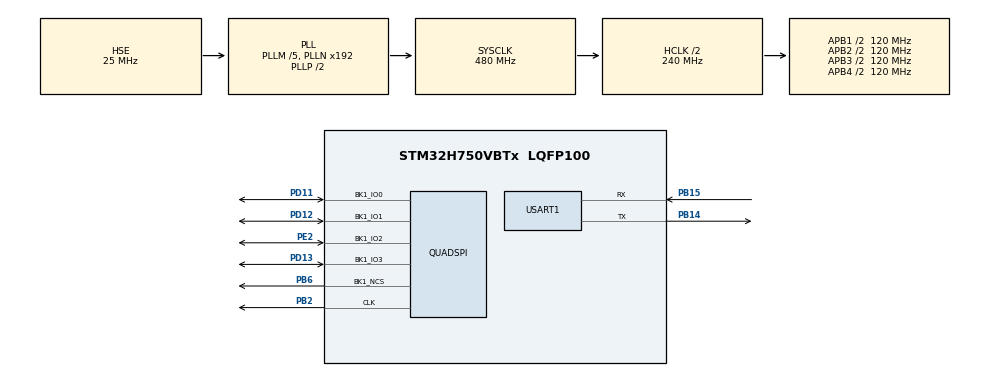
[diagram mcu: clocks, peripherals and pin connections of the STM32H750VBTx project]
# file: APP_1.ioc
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CORTEX_M7.default_mode_Activation=1
Dma.Request0=USART1_TX
Dma.USART1_TX.0.Direction=DMA_MEMORY_TO_PERIPH
Dma.USART1_TX.0.EventEnable=DISABLE
Dma.USART1_TX.0.FIFOMode=DMA_FIFOMODE_DISABLE
Dma.USART1_TX.0.Instance=DMA1_Stream0
Dma.USART1_TX.0.MemDataAlignment=DMA_MDATAALIGN_BYTE
Dma.USART1_TX.0.MemInc=DMA_MINC_ENABLE
Dma.USART1_TX.0.Mode=DMA_NORMAL
Dma.USART1_TX.0.PeriphDataAlignment=DMA_PDATAALIGN_BYTE
Dma.USART1_TX.0.PeriphInc=DMA_PINC_DISABLE
Dma.USART1_TX.0.Polarity=HAL_DMAMUX_REQ_GEN_RISING
Dma.USART1_TX.0.Priority=DMA_PRIORITY_HIGH
Dma.USART1_TX.0.RequestNumber=1
Dma.USART1_TX.0.SignalID=NONE
Dma.USART1_TX.0.SyncEnable=DISABLE
Dma.USART1_TX.0.SyncPolarity=HAL_DMAMUX_SYNC_NO_EVENT
Dma.USART1_TX.0.SyncRequestNumber=1
Dma.USART1_TX.0.SyncSignalID=NONE
Mcu.Family=STM32H7
Mcu.Name=STM32H750VBTx
Mcu.Package=LQFP100
NVIC.DMA1_Stream0_IRQn=true\:0\:0\:false\:false\:true\:false\:true\:true
NVIC.PriorityGroup=NVIC_PRIORITYGROUP_4
NVIC.USART1_IRQn=true\:0\:0\:false\:false\:true\:false\:true\:true
PA13\ (JTMS/SWDIO).Mode=Serial_Wire
PA13\ (JTMS/SWDIO).Signal=DEBUG_JTMS-SWDIO
PA14\ (JTCK/SWCLK).Mode=Serial_Wire
PA14\ (JTCK/SWCLK).Signal=DEBUG_JTCK-SWCLK
PB14.Mode=Asynchronous
PB14.Signal=USART1_TX
PB15.Mode=Asynchronous
PB15.Signal=USART1_RX
PB2.Mode=Single Bank 1
PB2.Signal=QUADSPI_CLK
PB6.Mode=Single Bank 1
PB6.Signal=QUADSPI_BK1_NCS
PD11.Mode=Single Bank 1
PD11.Signal=QUADSPI_BK1_IO0
PD12.Mode=Single Bank 1
PD12.Signal=QUADSPI_BK1_IO1
PD13.Mode=Single Bank 1
PD13.Signal=QUADSPI_BK1_IO3
PE2.Mode=Single Bank 1
PE2.Signal=QUADSPI_BK1_IO2
PH0-OSC_IN\ (PH0).Mode=HSE-External-Oscillator
PH0-OSC_IN\ (PH0).Signal=RCC_OSC_IN
PH1-OSC_OUT\ (PH1).Mode=HSE-External-Oscillator
PH1-OSC_OUT\ (PH1).Signal=RCC_OSC_OUT
ProjectManager.HeapSize=0x200
ProjectManager.StackSize=0x400
ProjectManager.TargetToolchain=CMake
QUADSPI.ClockPrescaler=2
QUADSPI.FifoThreshold=32
QUADSPI.FlashSize=22
QUADSPI.SampleShifting=QSPI_SAMPLE_SHIFTING_HALFCYCLE
RCC.ADCFreq_Value=50390625
RCC.APB1Freq_Value=120000000
RCC.APB2Freq_Value=120000000
RCC.APB3Freq_Value=120000000
RCC.APB4Freq_Value=120000000
RCC.CortexFreq_Value=480000000
RCC.D1PPRE=RCC_APB3_DIV2
RCC.D2PPRE1=RCC_APB1_DIV2
RCC.D2PPRE2=RCC_APB2_DIV2
RCC.D3PPRE=RCC_APB4_DIV2
RCC.DIVM1=5
RCC.DIVN1=192
RCC.DIVR1=5
RCC.HCLKFreq_Value=240000000
RCC.HPRE=RCC_HCLK_DIV2
RCC.PLL2FRACN=0
RCC.PLL3FRACN=0
RCC.PLLFRACN=0
RCC.PLLSourceVirtual=RCC_PLLSOURCE_HSE
RCC.SYSCLKFreq_VALUE=480000000
RCC.SYSCLKSource=RCC_SYSCLKSOURCE_PLLCLK
RCC.USBFreq_Value=480000000
USART1.VirtualMode-Asynchronous=VM_ASYNC
VP_MEMORYMAP_VS_MEMORYMAP.Mode=CurAppReg
board=custom

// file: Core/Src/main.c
/* USER CODE BEGIN Header */
/**
  ******************************************************************************
  * @file           : main.c
  * @brief          : Main program body
  ******************************************************************************
  * @attention
  *
  * Copyright (c) 2025 STMicroelectronics.
  * All rights reserved.
  *
  * This software is licensed under terms that can be found in the LICENSE file
  * in the root directory of this software component.
  * If no LICENSE file comes with this software, it is provided AS-IS.
  *
  ******************************************************************************
  */
/* USER CODE END Header */
#include "main.h"
#include "dma.h"
#include "quadspi.h"
#include "usart.h"
#include "gpio.h"

/* USER CODE BEGIN Includes */
#include <stdio.h>
/* USER CODE END Includes */

void SystemClock_Config(void);
static void MPU_Config(void);

int main(void)
{

  /* MPU Configuration--------------------------------------------------------*/
  MPU_Config();

  /* MCU Configuration--------------------------------------------------------*/

  /* Reset of all peripherals, Initializes the Flash interface and the Systick. */
  HAL_Init();

  /* Configure the system clock */
  // SystemClock_Config(); // 保持使用 Bootloader 配置的时钟
  SystemCoreClockUpdate(); // 更新全局时钟变量以匹配实际频率 (480MHz)

  /* Initialize all configured peripherals */
  MX_GPIO_Init();
  MX_USART1_UART_Init();

  /* USER CODE BEGIN 2 */
  __enable_irq(); // 重新开启中断，Bootloader 跳转前关闭了它
  printf("\r\n--- APP A Running from QSPI XIP ---\r\n");
  /* USER CODE END 2 */

  /* Infinite loop */
  /* USER CODE BEGIN WHILE */
  uint32_t delays[] = {100, 500, 1000};
  uint8_t i = 0;
  while (1)
  {
    HAL_GPIO_TogglePin(GPIOC, GPIO_PIN_13);
    HAL_Delay(delays[i]);

    static uint8_t toggle_count = 0;
    if (++toggle_count >= 2) {
        toggle_count = 0;
        i = (i + 1) % 3;
        printf("App Heartbeat... Current Interval: %ld ms\r\n", delays[i]);
    }
    /* USER CODE END WHILE */

  }
}

void SystemClock_Config(void)
{
  RCC_OscInitTypeDef RCC_OscInitStruct = {0};
  RCC_ClkInitTypeDef RCC_ClkInitStruct = {0};

  /** Supply configuration update enable
  */
  HAL_PWREx_ConfigSupply(PWR_LDO_SUPPLY);

  /** Configure the main internal regulator output voltage
  */
  __HAL_PWR_VOLTAGESCALING_CONFIG(PWR_REGULATOR_VOLTAGE_SCALE0);

  while(!__HAL_PWR_GET_FLAG(PWR_FLAG_VOSRDY)) {}

  /** Initializes the RCC Oscillators according to the specified parameters
  * in the RCC_OscInitTypeDef structure.
  */
  RCC_OscInitStruct.OscillatorType = RCC_OSCILLATORTYPE_HSE;
  RCC_OscInitStruct.HSEState = RCC_HSE_ON;
  RCC_OscInitStruct.PLL.PLLState = RCC_PLL_ON;
  RCC_OscInitStruct.PLL.PLLSource = RCC_PLLSOURCE_HSE;
  RCC_OscInitStruct.PLL.PLLM = 5;
  RCC_OscInitStruct.PLL.PLLN = 192;
  RCC_OscInitStruct.PLL.PLLP = 2;
  RCC_OscInitStruct.PLL.PLLQ = 2;
  RCC_OscInitStruct.PLL.PLLR = 5;
  RCC_OscInitStruct.PLL.PLLRGE = RCC_PLL1VCIRANGE_2;
  RCC_OscInitStruct.PLL.PLLVCOSEL = RCC_PLL1VCOWIDE;
  RCC_OscInitStruct.PLL.PLLFRACN = 0;
  if (HAL_RCC_OscConfig(&RCC_OscInitStruct) != HAL_OK)
  {
    Error_Handler();
  }

  /** Initializes the CPU, AHB and APB buses clocks
  */
  RCC_ClkInitStruct.ClockType = RCC_CLOCKTYPE_HCLK|RCC_CLOCKTYPE_SYSCLK
                              |RCC_CLOCKTYPE_PCLK1|RCC_CLOCKTYPE_PCLK2
                              |RCC_CLOCKTYPE_D3PCLK1|RCC_CLOCKTYPE_D1PCLK1;
  RCC_ClkInitStruct.SYSCLKSource = RCC_SYSCLKSOURCE_PLLCLK;
  RCC_ClkInitStruct.SYSCLKDivider = RCC_SYSCLK_DIV1;
  RCC_ClkInitStruct.AHBCLKDivider = RCC_HCLK_DIV2;
  RCC_ClkInitStruct.APB3CLKDivider = RCC_APB3_DIV2;
  RCC_ClkInitStruct.APB1CLKDivider = RCC_APB1_DIV2;
  RCC_ClkInitStruct.APB2CLKDivider = RCC_APB2_DIV2;
  RCC_ClkInitStruct.APB4CLKDivider = RCC_APB4_DIV2;

  if (HAL_RCC_ClockConfig(&RCC_ClkInitStruct, FLASH_LATENCY_4) != HAL_OK)
  {
    Error_Handler();
  }
}

/* USER CODE BEGIN 4 */
int __io_putchar(int ch)
{
    HAL_UART_Transmit(&huart1, (uint8_t *)&ch, 1, HAL_MAX_DELAY);
    return ch;
}
/* USER CODE END 4 */

 /* MPU Configuration */

void MPU_Config(void)
{
  MPU_Region_InitTypeDef MPU_InitStruct = {0};

  /* Disables the MPU */
  HAL_MPU_Disable();

  /** Configure the MPU attributes as Normal Non-cacheable for the whole 4GB
   *  (Otherwise, accessing undefined addresses will cause a fault)
   */
  MPU_InitStruct.Enable = MPU_REGION_ENABLE;
  MPU_InitStruct.Number = MPU_REGION_NUMBER0;
  MPU_InitStruct.BaseAddress = 0x0;
  MPU_InitStruct.Size = MPU_REGION_SIZE_4GB;
  MPU_InitStruct.SubRegionDisable = 0x87;
  MPU_InitStruct.TypeExtField = MPU_TEX_LEVEL0;
  MPU_InitStruct.AccessPermission = MPU_REGION_NO_ACCESS;
  MPU_InitStruct.DisableExec = MPU_INSTRUCTION_ACCESS_DISABLE;
  MPU_InitStruct.IsShareable = MPU_ACCESS_SHAREABLE;
  MPU_InitStruct.IsCacheable = MPU_ACCESS_NOT_CACHEABLE;
  MPU_InitStruct.IsBufferable = MPU_ACCESS_NOT_BUFFERABLE;
  HAL_MPU_ConfigRegion(&MPU_InitStruct);

  /** Configure the MPU attributes for QSPI Flash (0x90000000)
   */
  MPU_InitStruct.Enable = MPU_REGION_ENABLE;
  MPU_InitStruct.Number = MPU_REGION_NUMBER1;
  MPU_InitStruct.BaseAddress = 0x90000000;
  MPU_InitStruct.Size = MPU_REGION_SIZE_8MB;
  MPU_InitStruct.SubRegionDisable = 0x0;
  MPU_InitStruct.TypeExtField = MPU_TEX_LEVEL0;
  MPU_InitStruct.AccessPermission = MPU_REGION_FULL_ACCESS;
  MPU_InitStruct.DisableExec = MPU_INSTRUCTION_ACCESS_ENABLE;
  MPU_InitStruct.IsShareable = MPU_ACCESS_NOT_SHAREABLE;
  MPU_InitStruct.IsCacheable = MPU_ACCESS_CACHEABLE;
  MPU_InitStruct.IsBufferable = MPU_ACCESS_BUFFERABLE;
  HAL_MPU_ConfigRegion(&MPU_InitStruct);

  /* Enables the MPU */
  HAL_MPU_Enable(MPU_PRIVILEGED_DEFAULT);
}

void Error_Handler(void)
{
  __disable_irq();
  while (1)
  {
  }
}
